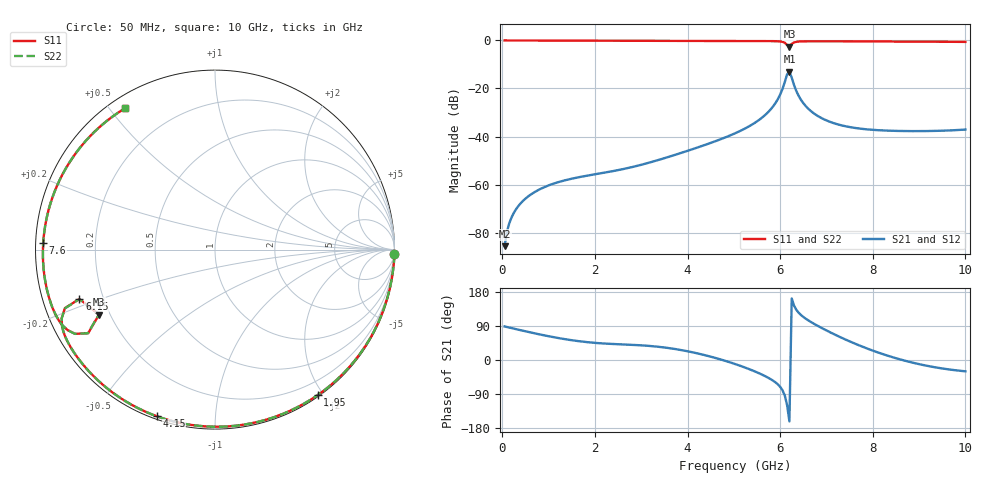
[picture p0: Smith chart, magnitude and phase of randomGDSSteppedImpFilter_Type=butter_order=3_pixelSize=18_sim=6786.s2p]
! freq	dB(S11)	phase(S11)	dB(S12)	phase(S12)
!  dB(S21)	phase(S21)	dB(S22)	phase(S22)
!S-par simulation data
#  GHz  S  DB  R 50
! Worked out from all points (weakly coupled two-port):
!   200 points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, 50 MHz to 10 GHz, reference 50 ohm
!   highest |S21| = -12.98 dB at 6.2 GHz (marker M1); lowest = -85.7 dB at 50 MHz (marker M2)
!   lowest |S11| = -2.6 dB at 6.2 GHz (marker M3), VSWR 6.70, Z = 7.96 - j12.7 ohm
!   |S11| at or under -10 dB: nowhere
!   |S22| runs from -2.6 to 0.0 dB; largest |S21 - S12| = 0
!   S11 on the Smith chart (normalised r, x): 50 MHz: 0, -78; 1.95 GHz: 0.02, -1.93; 4.15 GHz: 0.01, -0.71; 6.15 GHz: 0.11, -0.17; 7.6 GHz: 0.02, +0.02; 10 GHz: 0.04, +0.55
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0.05  -0.00 -1.5  -85.67 88.5  -85.67 88.5  -0.00 -1.5
0.1  -0.00 -2.9  -79.66 87.1  -79.66 87.1  -0.00 -2.9
0.2  -0.01 -5.8  -73.67 84.2  -73.67 84.2  -0.01 -5.8
0.3  -0.01 -8.7  -70.19 81.3  -70.19 81.3  -0.01 -8.7
0.6  -0.02 -17.3  -64.37 73.0  -64.37 73.0  -0.03 -17.3
1.05  -0.04 -30.1  -60.01 61.5  -60.01 61.5  -0.04 -30.1
1.75  -0.06 -49.4  -56.60 48.2  -56.60 48.2  -0.06 -49.4
1.95  -0.07 -54.8  -55.91 45.8  -55.91 45.8  -0.07 -54.8
3.4  -0.12 -91.6  -49.62 34.5  -49.62 34.5  -0.12 -91.6
4.15  -0.14 -109.3  -45.01 19.2  -45.01 19.2  -0.14 -109.3
5.05  -0.19 -129.6  -38.46 -11.5  -38.46 -11.5  -0.19 -129.6
5.8  -0.27 -147.2  -28.60 -50.9  -28.60 -50.9  -0.27 -147.1
6  -0.43 -153.6  -22.54 -70.7  -22.54 -70.7  -0.43 -153.6
6.15  -1.90 -160.0  -14.11 -119.4  -14.11 -119.4  -1.88 -159.9
6.2  -2.61 -150.7  -12.98 -162.1  -12.98 -162.1  -2.59 -150.7
6.25  -1.45 -146.6  -15.50 162.5  -15.50 162.5  -1.44 -146.7
6.4  -0.47 -153.4  -23.09 124.6  -23.09 124.6  -0.46 -153.4
6.7  -0.33 -162.0  -29.97 97.7  -29.97 97.7  -0.33 -161.9
7.1  -0.34 -171.1  -34.07 71.9  -34.07 71.9  -0.34 -171.1
7.6  -0.37 177.9  -36.39 43.9  -36.39 43.9  -0.37 177.9
8.35  -0.44 161.4  -37.58 10.3  -37.58 10.3  -0.44 161.4
10  -0.60 122.5  -37.11 -29.8  -37.11 -29.8  -0.60 122.5
